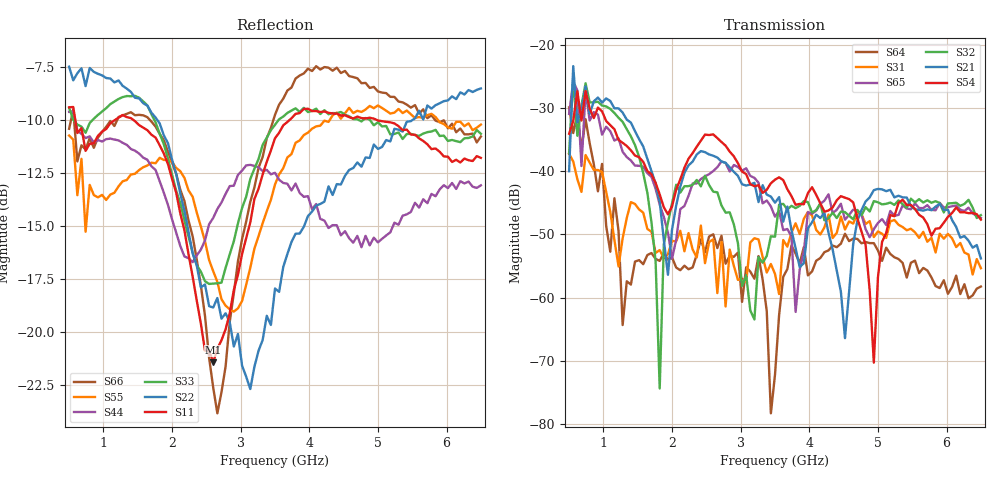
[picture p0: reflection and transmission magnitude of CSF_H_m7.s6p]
!Keysight Technologies,M9804A,MY58100912,A.14.10.03
!Date: Thursday, April 27, 2023 10:28:33
!Correction: S11(C  6-Port  )
!S12(C  6-Port  )
!S13(C  6-Port  )
!S14(C  6-Port  )
!S15(C  6-Port  )
!S16(C  6-Port  )
!S21(C  6-Port  )
!S22(C  6-Port  )
!S23(C  6-Port  )
!S24(C  6-Port  )
!S25(C  6-Port  )
!S26(C  6-Port  )
!S31(C  6-Port  )
!S32(C  6-Port  )
!S33(C  6-Port  )
!S34(C  6-Port  )
!S35(C  6-Port  )
!S36(C  6-Port  )
!S41(C  6-Port  )
!S42(C  6-Port  )
!S43(C  6-Port  )
!S44(C  6-Port  )
!S45(C  6-Port  )
!S46(C  6-Port  )
!S51(C  6-Port  )
!S52(C  6-Port  )
!S53(C  6-Port  )
!S54(C  6-Port  )
!S55(C  6-Port  )
!S56(C  6-Port  )
!S61(C  6-Port  )
!S62(C  6-Port  )
!S63(C  6-Port  )
!S64(C  6-Port  )
!S65(C  6-Port  )
!S66(C  6-Port  )
!S6P File: Measurement: :
# Hz S  RI  R 50
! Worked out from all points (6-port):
!   101 points, 500 MHz to 6.5 GHz, reference 50 ohm
!   strongest paths, dB at 500 MHz, 2 GHz, 3.5 GHz, 5 GHz, 6.5 GHz:
!     S54: -34.1, -45.6, -41.4, -56.8, -47.7
!     S21: -40.0, -49.2, -45.0, -42.8, -53.8
!     S32: -37.2, -45.1, -50.4, -44.9, -47.0
!     S65: -31.0, -53.8, -47.2, -48.2, -47.4
!     S31: -37.3, -51.0, -56.3, -49.5, -55.4
!     S64: -29.9, -53.7, -72.2, -52.6, -58.3
!   lowest |S11| = -21.4 dB at 2.6 GHz (marker M1), VSWR 1.19, Z = 42.5 + j2.2 ohm
!   |S11| at or under -10 dB: 589.7 MHz to 1.17 GHz (580.4 MHz wide, 66 % of centre); 1.435 GHz to 3.714 GHz (2.279 GHz wide, 88.5 % of centre); 4.98 GHz to end of sweep
